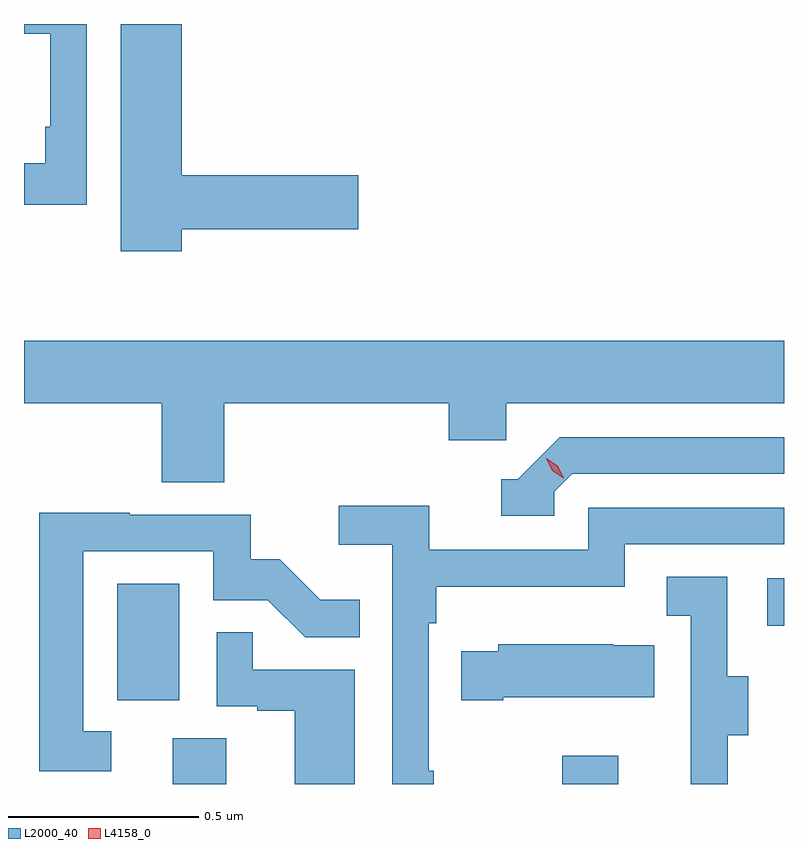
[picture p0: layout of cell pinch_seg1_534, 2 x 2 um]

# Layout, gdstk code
import gdstk
lib = gdstk.Library(unit=1e-6, precision=1e-09)
def R(c, l, rs):  # rectangles x0, y0, x1, y1
    for r in rs: c.add(gdstk.rectangle(r[:2], r[2:], *l))
def P(c, l, *ps):  # polygons
    for p in ps: c.add(gdstk.Polygon(p, *l))
L2000_40 = (2000, 40)
L4158_0 = (4158, 0)

pinch_seg1_534 = lib.new_cell('pinch_seg1_534')
R(pinch_seg1_534, L2000_40, [(1072.115,532.082,1072.255,532.202), (1073.14,532.082,1073.287,532.156), (1071.968,532.302,1072.132,532.609), (1073.679,532.499,1073.723,532.623)])
P(pinch_seg1_534, L2000_40, [(1071.888,534.082),(1071.723,534.082),(1071.723,534.057),(1071.792,534.057),(1071.792,533.812),(1071.779,533.812),(1071.779,533.716),(1071.723,533.716),(1071.723,533.607),(1071.888,533.607)],
  [(1072.138,533.542),(1072.603,533.542),(1072.603,533.684),(1072.138,533.684),(1072.138,534.082),(1071.977,534.082),(1071.977,533.484),(1072.138,533.484)],
  [(1072.25,533.084),(1072.841,533.084),(1072.841,532.986),(1072.992,532.986),(1072.992,533.084),(1073.723,533.084),(1073.723,533.248),(1071.723,533.248),(1071.723,533.084),(1072.085,533.084),(1072.085,532.876),(1072.25,532.876)],
  [(1073.118,532.851),(1073.166,532.899),(1073.723,532.899),(1073.723,532.995),(1073.133,532.995),(1073.022,532.884),(1072.979,532.884),(1072.979,532.788),(1073.118,532.788)],
  [(1072.801,532.117),(1072.788,532.117),(1072.788,532.505),(1072.808,532.505),(1072.808,532.601),(1073.304,532.601),(1073.304,532.713),(1073.723,532.713),(1073.723,532.809),(1073.208,532.809),(1073.208,532.698),(1072.79,532.698),(1072.79,532.814),(1072.551,532.814),(1072.551,532.712),(1072.692,532.712),(1072.692,532.082),(1072.801,532.082)],
  [(1071.952,532.221),(1071.879,532.221),(1071.879,532.695),(1072.221,532.695),(1072.221,532.566),(1072.365,532.566),(1072.463,532.468),(1072.607,532.468),(1072.607,532.567),(1072.503,532.567),(1072.396,532.674),(1072.32,532.674),(1072.32,532.791),(1072.001,532.791),(1072.001,532.796),(1071.763,532.796),(1071.763,532.116),(1071.952,532.116)],
  [(1073.575,532.21),(1073.629,532.21),(1073.629,532.365),(1073.574,532.365),(1073.574,532.628),(1073.415,532.628),(1073.415,532.525),(1073.478,532.525),(1073.478,532.221),(1073.477,532.221),(1073.477,532.082),(1073.575,532.082)],
  [(1072.594,532.383),(1072.325,532.383),(1072.325,532.481),(1072.23,532.481),(1072.23,532.287),(1072.337,532.287),(1072.337,532.275),(1072.436,532.275),(1072.436,532.082),(1072.594,532.082)],
  [(1072.984,532.31),(1073.381,532.31),(1073.381,532.447),(1073.273,532.447),(1073.273,532.45),(1072.971,532.45),(1072.971,532.432),(1072.873,532.432),(1072.873,532.303),(1072.984,532.303)])
P(pinch_seg1_534, L4158_0, [(1073.144,532.886),(1073.113,532.906),(1073.097,532.939),(1073.097,532.939),(1073.097,532.939),(1073.128,532.919),(1073.144,532.887),(1073.144,532.886)])

lib.write_gds('pinch_seg1_534.gds')
